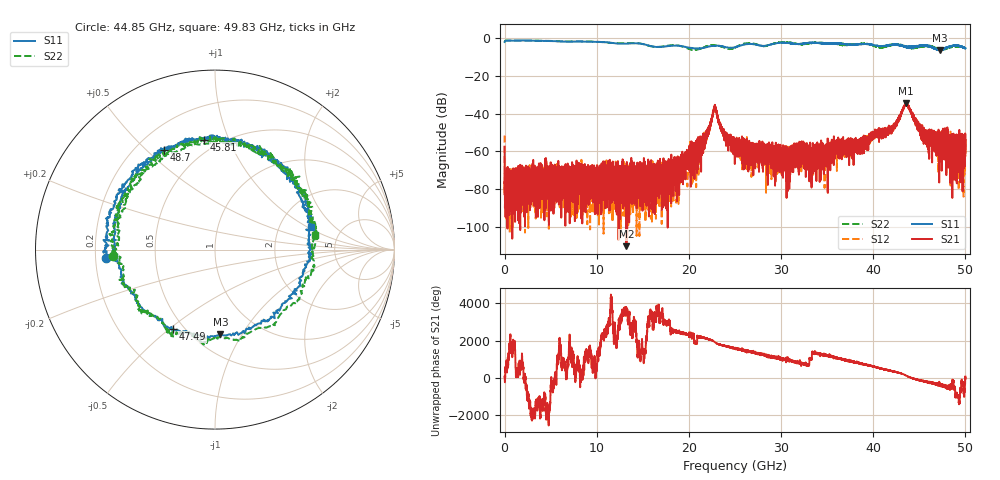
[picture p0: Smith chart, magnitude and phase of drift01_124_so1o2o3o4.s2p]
!Created with skrf (http://scikit-rf.org).
# Hz S RI R 50.0
!freq ReS11 ImS11 ReS21 ImS21 ReS12 ImS12 ReS22 ImS22
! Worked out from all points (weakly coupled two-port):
!   10001 points, 300 kHz to 50 GHz, reference 50 ohm
!   highest |S21| = -34.69 dB at 43.54 GHz (marker M1); lowest = -110.2 dB at 13.22 GHz (marker M2)
!   lowest |S11| = -6.5 dB at 47.28 GHz (marker M3), VSWR 2.79, Z = 33.4 - j40.5 ohm
!   |S11| at or under -10 dB: nowhere
!   |S22| runs from -6.3 to -1.4 dB; largest |S21 - S12| = 0.0033
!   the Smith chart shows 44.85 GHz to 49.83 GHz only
!   S11 on the Smith chart (normalised r, x): 44.85 GHz: 0.24, -0.04; 45.81 GHz: 0.41, +0.81; 47.49 GHz: 0.44, -0.51; 48.7 GHz: 0.31, +0.57; 49.83 GHz: 3.02, +1.10
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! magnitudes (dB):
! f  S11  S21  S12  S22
! 300 kHz  -2.2  -57.6  -51.6  -2.1
! 260.3 MHz  -1.4  -79.2  -82.8  -1.4
! 8.335 GHz  -1.9  -70.5  -64.5  -1.8
! 13.22 GHz  -3.0  -110.2  -71.0  -2.8
! 16.67 GHz  -4.8  -76.3  -71.1  -4.8
! 17.91 GHz  -4.3  -70.4  -71.1  -4.0
! 21.28 GHz  -5.5  -52.4  -57.0  -5.7
! 22.79 GHz  -4.3  -36.5  -35.9  -4.0
! 23.79 GHz  -4.7  -49.8  -49.2  -5.0
! 25 GHz  -5.0  -58.5  -56.8  -5.0
! 29.79 GHz  -2.6  -58.6  -63.6  -2.4
! 31.53 GHz  -3.2  -59.5  -59.4  -3.0
! 33.34 GHz  -2.6  -62.2  -60.9  -2.7
! 41.67 GHz  -3.9  -47.3  -49.3  -4.1
! 43.54 GHz  -4.6  -34.7  -35.0  -4.7
! 44.85 GHz  -4.3  -45.7  -45.8  -4.9
! 45.81 GHz  -4.2  -50.7  -52.4  -4.4
! 47.28 GHz  -6.5  -59.5  -53.5  -5.7
! 47.49 GHz  -6.0  -62.0  -56.8  -6.2
! 48.7 GHz  -4.1  -51.4  -60.3  -4.6
! 49.83 GHz  -5.2  -55.2  -59.1  -5.0
! 50 GHz  -5.6  -53.9  -60.0  -5.4
